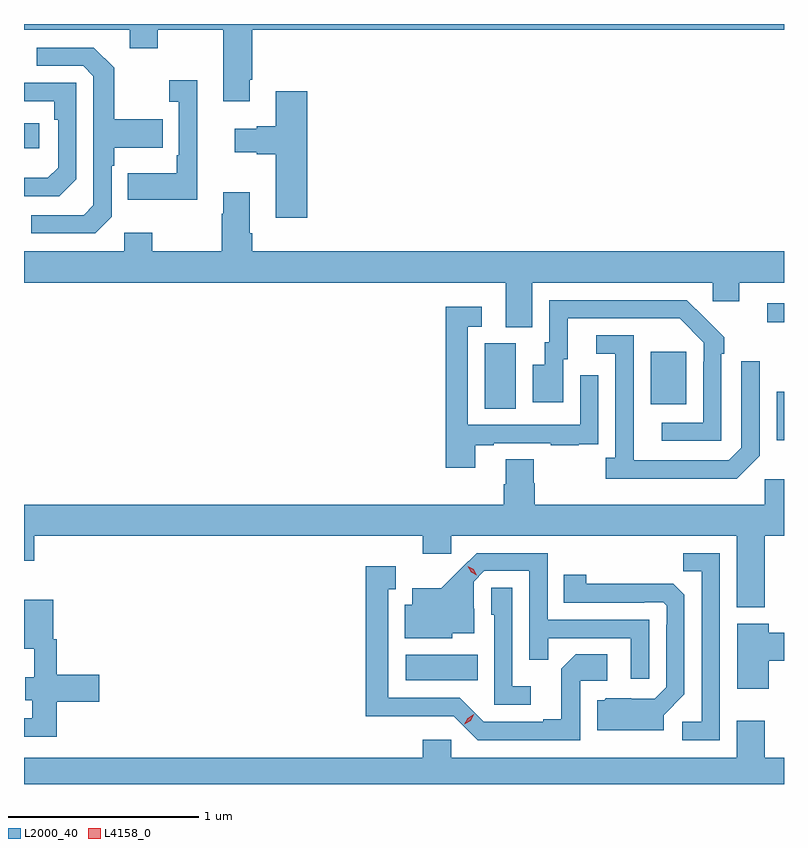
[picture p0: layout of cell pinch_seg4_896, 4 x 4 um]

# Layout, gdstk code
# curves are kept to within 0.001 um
import gdstk
lib = gdstk.Library(unit=1e-6, precision=1e-09)
def R(c, l, rs):  # rectangles x0, y0, x1, y1
    for r in rs: c.add(gdstk.rectangle(r[:2], r[2:], *l))
def P(c, l, *ps):  # polygons
    for p in ps: c.add(gdstk.Polygon(p, *l))
L2000_40 = (2000, 40)
L4158_0 = (4158, 0)

pinch_seg4_896 = lib.new_cell('pinch_seg4_896')
R(pinch_seg4_896, L2000_40, [(750.096,822.698,750.476,822.832), (752.048,823.961,752.087,824.218), (750.512,824.128,750.676,824.472), (751.385,824.153,751.573,824.428), (751.998,824.584,752.087,824.682), (748.087,825.5,748.168,825.63)])
P(pinch_seg4_896, L2000_40, [(749.275,825.859),(749.288,825.859),(749.288,826.124),(752.087,826.124),(752.087,826.153),(748.087,826.153),(748.087,826.124),(748.643,826.124),(748.643,826.025),(748.791,826.025),(748.791,826.124),(749.135,826.124),(749.135,825.747),(749.275,825.747)],
  [(748.548,825.138),(748.548,825.407),(748.561,825.407),(748.561,825.503),(748.817,825.503),(748.817,825.651),(748.561,825.651),(748.561,825.923),(748.455,826.029),(748.155,826.029),(748.155,825.933),(748.398,825.933),(748.452,825.879),(748.452,825.198),(748.401,825.147),(748.125,825.147),(748.125,825.051),(748.461,825.051)],
  [(749,825.856),(748.851,825.856),(748.851,825.743),(748.902,825.743),(748.902,825.463),(748.89,825.463),(748.89,825.367),(748.633,825.367),(748.633,825.227),(749,825.227)],
  [(748.362,825.336),(748.362,825.843),(748.087,825.843),(748.087,825.747),(748.246,825.747),(748.246,825.65),(748.266,825.65),(748.266,825.396),(748.213,825.343),(748.087,825.343),(748.087,825.246),(748.272,825.246)],
  [(749.579,825.799),(749.411,825.799),(749.411,825.614),(749.312,825.614),(749.312,825.601),(749.196,825.601),(749.196,825.479),(749.312,825.479),(749.312,825.467),(749.411,825.467),(749.411,825.132),(749.579,825.132)],
  [(750.763,824.792),(751.713,824.792),(751.713,824.694),(751.852,824.694),(751.852,824.792),(752.087,824.792),(752.087,824.956),(749.288,824.956),(749.288,825.052),(749.275,825.052),(749.275,825.268),(749.135,825.268),(749.135,825.155),(749.128,825.155),(749.128,824.956),(748.761,824.956),(748.761,825.055),(748.614,825.055),(748.614,824.956),(748.087,824.956),(748.087,824.792),(750.623,824.792),(750.623,824.557),(750.763,824.557)],
  [(751.758,824.417),(751.773,824.417),(751.773,824.505),(751.576,824.7),(750.852,824.7),(750.852,824.478),(750.827,824.478),(750.827,824.359),(750.764,824.359),(750.764,824.163),(750.925,824.163),(750.925,824.388),(750.949,824.388),(750.949,824.604),(751.537,824.604),(751.665,824.475),(751.665,824.375),(751.662,824.375),(751.662,824.055),(751.443,824.055),(751.443,823.959),(751.758,823.959)],
  [(750.463,823.935),(750.559,823.935),(750.559,823.947),(750.859,823.947),(750.859,823.935),(751.007,823.935),(751.007,823.941),(751.109,823.941),(751.109,824.05),(751.11,824.05),(751.11,824.305),(751.014,824.305),(751.014,824.043),(750.423,824.043),(750.423,824.559),(750.496,824.559),(750.496,824.665),(750.307,824.665),(750.307,823.818),(750.463,823.818)],
  [(751.959,823.881),(751.959,824.377),(751.863,824.377),(751.863,823.923),(751.797,823.857),(751.297,823.857),(751.296,824.514),(751.098,824.514),(751.098,824.418),(751.2,824.418),(751.2,823.87),(751.149,823.87),(751.149,823.76),(751.838,823.76)],
  [(751.986,823.46),(752.087,823.46),(752.087,823.756),(751.986,823.756),(751.986,823.624),(750.776,823.624),(750.776,823.737),(750.771,823.737),(750.771,823.862),(750.623,823.862),(750.623,823.73),(750.611,823.73),(750.611,823.624),(748.087,823.624),(748.087,823.329),(748.142,823.329),(748.142,823.46),(750.185,823.46),(750.185,823.365),(750.336,823.365),(750.336,823.46),(751.838,823.46),(751.838,823.082),(751.986,823.082)],
  [(751.749,823.368),(751.558,823.368),(751.558,823.273),(751.653,823.273),(751.653,822.48),(751.551,822.48),(751.551,822.384),(751.749,822.384)],
  [(751.377,823.017),(750.843,823.017),(750.843,823.368),(750.47,823.368),(750.283,823.183),(750.131,823.183),(750.131,823.096),(750.092,823.096),(750.092,822.92),(750.342,822.92),(750.342,822.947),(750.457,822.947),(750.457,823.076),(750.453,823.076),(750.453,823.218),(750.51,823.275),(750.747,823.275),(750.747,822.808),(750.845,822.808),(750.845,822.921),(751.281,822.921),(751.281,822.708),(751.377,822.708)],
  [(751.014,822.696),(751.156,822.696),(751.156,822.836),(750.991,822.836),(750.915,822.76),(750.915,822.493),(750.821,822.493),(750.821,822.48),(750.507,822.48),(750.381,822.606),(750.004,822.606),(750.004,823.179),(750.043,823.179),(750.043,823.3),(749.886,823.3),(749.886,822.509),(750.348,822.51),(750.474,822.384),(751.014,822.384)],
  [(751.453,822.516),(751.563,822.626),(751.563,823.148),(751.504,823.207),(751.047,823.208),(751.047,823.255),(750.928,823.255),(750.928,823.107),(751.352,823.107),(751.352,823.11),(751.452,823.11),(751.47,823.092),(751.47,822.992),(751.467,822.992),(751.467,822.663),(751.407,822.603),(751.15,822.604),(751.141,822.595),(751.103,822.595),(751.103,822.437),(751.453,822.437)],
  [(750.754,822.667),(750.657,822.667),(750.657,823.187),(750.546,823.187),(750.546,823.044),(750.561,823.044),(750.561,822.57),(750.754,822.57)],
  [(748.259,822.586),(748.483,822.586),(748.483,822.728),(748.259,822.728),(748.259,822.915),(748.24,822.915),(748.24,823.123),(748.087,823.123),(748.087,822.866),(748.142,822.866),(748.142,822.715),(748.094,822.715),(748.094,822.593),(748.131,822.593),(748.131,822.498),(748.087,822.498),(748.087,822.402),(748.259,822.402)],
  [(752.008,822.803),(752.087,822.803),(752.087,822.95),(752.008,822.95),(752.008,822.997),(751.841,822.997),(751.841,822.654),(752.008,822.654)],
  [(752.087,822.292),(751.986,822.292),(751.986,822.487),(751.838,822.487),(751.838,822.292),(750.336,822.292),(750.336,822.385),(750.185,822.385),(750.185,822.292),(748.087,822.292),(748.087,822.153),(752.087,822.153)])
P(pinch_seg4_896, L4158_0, [(750.471,823.252),(750.44,823.268),(750.423,823.298),(750.423,823.298),(750.423,823.298),(750.454,823.282),(750.471,823.253),(750.471,823.252)],
  [(750.405,822.468),(750.405,822.468),(750.422,822.5),(750.454,822.519),(750.454,822.519),(750.454,822.519),(750.437,822.486),(750.405,822.468)])

lib.write_gds('pinch_seg4_896.gds')
